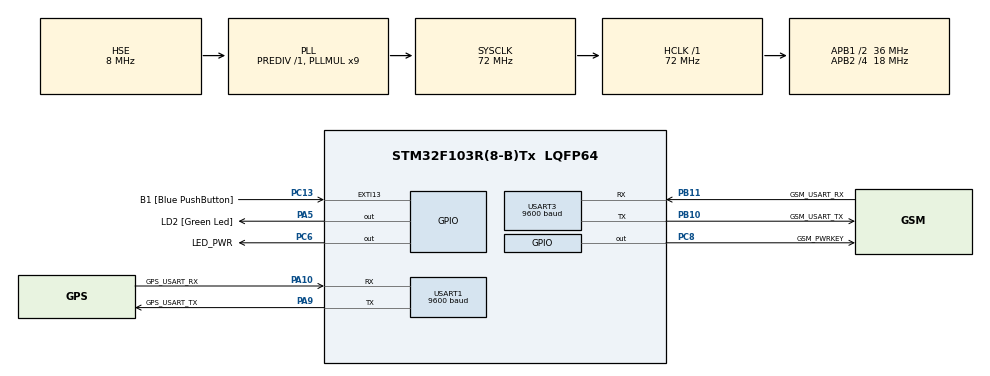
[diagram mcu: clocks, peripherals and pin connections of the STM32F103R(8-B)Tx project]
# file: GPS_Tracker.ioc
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Mcu.Family=STM32F1
Mcu.Name=STM32F103R(8-B)Tx
Mcu.Package=LQFP64
NVIC.PriorityGroup=NVIC_PRIORITYGROUP_4
PA10.GPIO_Label=GPS_USART_RX
PA10.Mode=Asynchronous
PA10.Signal=USART1_RX
PA13.GPIO_Label=TMS
PA13.Mode=Serial_Wire
PA13.Signal=SYS_JTMS-SWDIO
PA14.GPIO_Label=TCK
PA14.Mode=Serial_Wire
PA14.Signal=SYS_JTCK-SWCLK
PA2.GPIO_Label=USART_TX
PA2.GPIO_Mode=GPIO_MODE_AF_PP
PA2.GPIO_PuPd=GPIO_NOPULL
PA2.GPIO_Speed=GPIO_SPEED_FREQ_LOW
PA2.Signal=USART2_TX
PA3.GPIO_Label=USART_RX
PA3.GPIO_Mode=GPIO_MODE_AF_PP
PA3.GPIO_PuPd=GPIO_NOPULL
PA3.GPIO_Speed=GPIO_SPEED_FREQ_LOW
PA3.Signal=USART2_RX
PA5.GPIO_Label=LD2 [Green Led]
PA5.GPIO_ModeDefaultOutputPP=GPIO_MODE_OUTPUT_PP
PA5.GPIO_PuPd=GPIO_NOPULL
PA5.GPIO_Speed=GPIO_SPEED_FREQ_LOW
PA5.Signal=GPIO_Output
PA9.GPIO_Label=GPS_USART_TX
PA9.Mode=Asynchronous
PA9.Signal=USART1_TX
PB10.GPIO_Label=GSM_USART_TX
PB10.Mode=Asynchronous
PB10.Signal=USART3_TX
PB11.GPIO_Label=GSM_USART_RX
PB11.Mode=Asynchronous
PB11.Signal=USART3_RX
PB3.GPIO_Label=SWO
PB3.Signal=SYS_JTDO-TRACESWO
PC13-TAMPER-RTC.GPIO_Label=B1 [Blue PushButton]
PC13-TAMPER-RTC.GPIO_ModeDefaultEXTI=GPIO_MODE_EVT_RISING
PC13-TAMPER-RTC.GPIO_PuPd=GPIO_NOPULL
PC13-TAMPER-RTC.Signal=GPXTI13
PC14-OSC32_IN.Signal=RCC_OSC32_IN
PC15-OSC32_OUT.Signal=RCC_OSC32_OUT
PC6.GPIO_Label=LED_PWR
PC6.Signal=GPIO_Output
PC8.GPIO_Label=GSM_PWRKEY
PC8.Signal=GPIO_Output
PD0-OSC_IN.Mode=HSE-External-Oscillator
PD0-OSC_IN.Signal=RCC_OSC_IN
PD1-OSC_OUT.Mode=HSE-External-Oscillator
PD1-OSC_OUT.Signal=RCC_OSC_OUT
ProjectManager.HeapSize=0x200
ProjectManager.StackSize=0x400
ProjectManager.TargetToolchain=TrueSTUDIO
RCC.AHBFreq_Value=72000000
RCC.APB1CLKDivider=RCC_HCLK_DIV2
RCC.APB1Freq_Value=36000000
RCC.APB1TimFreq_Value=72000000
RCC.APB2CLKDivider=RCC_HCLK_DIV4
RCC.APB2Freq_Value=18000000
RCC.APB2TimFreq_Value=36000000
RCC.HCLKFreq_Value=72000000
RCC.HSIState=RCC_HSI_ON
RCC.PLLMUL=RCC_PLL_MUL9
RCC.PLLSourceVirtual=RCC_PLLSOURCE_HSE
RCC.SYSCLKFreq_VALUE=72000000
RCC.SYSCLKSource=RCC_SYSCLKSOURCE_PLLCLK
RCC.USBFreq_Value=72000000
USART1.BaudRate=9600
USART3.BaudRate=9600
board=NUCLEO-F103RB

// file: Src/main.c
/**
  ******************************************************************************
  * File Name          : main.c
  * Description        : Main program body
  ******************************************************************************
  *
  * COPYRIGHT(c) 2002 STMicroelectronics
  *
  * Redistribution and use in source and binary forms, with or without modification,
  * are permitted provided that the following conditions are met:
  *   1. Redistributions of source code must retain the above copyright notice,
  *      this list of conditions and the following disclaimer.
  *   2. Redistributions in binary form must reproduce the above copyright notice,
  *      this list of conditions and the following disclaimer in the documentation
  *      and/or other materials provided with the distribution.
  *   3. Neither the name of STMicroelectronics nor the names of its contributors
  *      may be used to endorse or promote products derived from this software
  *      without specific prior written permission.
  *
  * THIS SOFTWARE IS PROVIDED BY THE COPYRIGHT HOLDERS AND CONTRIBUTORS "AS IS"
  * AND ANY EXPRESS OR IMPLIED WARRANTIES, INCLUDING, BUT NOT LIMITED TO, THE
  * IMPLIED WARRANTIES OF MERCHANTABILITY AND FITNESS FOR A PARTICULAR PURPOSE ARE
  * DISCLAIMED. IN NO EVENT SHALL THE COPYRIGHT HOLDER OR CONTRIBUTORS BE LIABLE
  * FOR ANY DIRECT, INDIRECT, INCIDENTAL, SPECIAL, EXEMPLARY, OR CONSEQUENTIAL
  * DAMAGES (INCLUDING, BUT NOT LIMITED TO, PROCUREMENT OF SUBSTITUTE GOODS OR
  * SERVICES; LOSS OF USE, DATA, OR PROFITS; OR BUSINESS INTERRUPTION) HOWEVER
  * CAUSED AND ON ANY THEORY OF LIABILITY, WHETHER IN CONTRACT, STRICT LIABILITY,
  * OR TORT (INCLUDING NEGLIGENCE OR OTHERWISE) ARISING IN ANY WAY OUT OF THE USE
  * OF THIS SOFTWARE, EVEN IF ADVISED OF THE POSSIBILITY OF SUCH DAMAGE.
  *
  ******************************************************************************
  */
#include "stm32f1xx_hal.h"

/* USER CODE BEGIN Includes */
#include <string.h>
/* USER CODE END Includes */

UART_HandleTypeDef huart1;
UART_HandleTypeDef huart3;

/* USER CODE BEGIN PV */
/* Private variables ---------------------------------------------------------*/

/* USER CODE END PV */

void SystemClock_Config(void);
void Error_Handler(void);
static void MX_GPIO_Init(void);
static void MX_USART1_UART_Init(void);
static void MX_USART3_UART_Init(void);

/* USER CODE BEGIN PFP */
/* Private function prototypes -----------------------------------------------*/

/* USER CODE END PFP */

/* USER CODE BEGIN 0 */
char ch;
uint8_t char_counter = 0;
uint8_t char_counter_tmp = 0;
char x_text [50];
uint8_t flag_x = 0;
char st1[] = "AT+HTTPPARA=URL,http://www.YOUR_DOMAIN_HERE/get_location.php?raw_var=";
char st2[] = "\r\n";

void S_delay_ms(uint32_t ms){
	long rr = ms*300;
	while (rr != 0){
		rr--;
	}
}

void GPS_USART_RX_ISR(){
	if(__HAL_UART_GET_FLAG(&huart1, UART_FLAG_RXNE) != RESET){
		ch = (uint8_t)((&huart1)->Instance->DR & (uint8_t)0x00FF);
		maincall_x();
	}
}
void scan_for_dots(){
	uint8_t i = 0;
	while (i!=26){
		if (x_text [i] == ','){
			x_text [i] = 'y';
		}
		i++;
	}
}

uint8_t comm_1[] = "AT+SAPBR=3,1,Contype,GPRS\r\n";
uint8_t comm_2[] = "AT+SAPBR=3,1,APN,YOUR_APN_HERE\r\n";
uint8_t comm_3[] = "AT+SAPBR=1,1\r\n";
uint8_t comm_4[] = "AT+HTTPINIT\r\n";
uint8_t comm_5[] = "AT+HTTPPARA=CID,1\r\n";
void init_devs(){
	//GSM Power On
	S_delay_ms(400000);
	HAL_GPIO_WritePin(GPIOC, GSM_PWRKEY_Pin, GPIO_PIN_SET);
	HAL_GPIO_WritePin(GPIOC, GSM_PWRKEY_Pin, GPIO_PIN_RESET);
	S_delay_ms(400000);
	HAL_GPIO_WritePin(GPIOC, GSM_PWRKEY_Pin, GPIO_PIN_SET);
	//GSM Modem On
	S_delay_ms(800000);
	HAL_UART_Transmit(&huart3, comm_1, 27, 9000000);
	S_delay_ms(100000);
	HAL_UART_Transmit(&huart3, comm_2, 24, 9000000);
	S_delay_ms(100000);
	HAL_UART_Transmit(&huart3, comm_3, 14, 9000000);
	S_delay_ms(100000);
	HAL_UART_Transmit(&huart3, comm_4, 13, 9000000);
	S_delay_ms(100000);
	HAL_UART_Transmit(&huart3, comm_5, 19, 9000000);
	S_delay_ms(100000);
	HAL_GPIO_WritePin(GPIOC, LED_PWR_Pin, GPIO_PIN_SET);
}

uint8_t comm_6[] = "AT+HTTPACTION=0\r\n";
void maincall_x(){
	if (ch == '$'){
		char_counter = 1;
	}
	if (char_counter == 4){
		if (ch == 'G'){
			flag_x++;
		}
	}
	if (char_counter == 5){
		if (ch == 'L'){
			flag_x++;
		}
	}
	if (char_counter == 6){
		if (ch == 'L'){
			flag_x++;
		}
	}
	if (ch == '*'){
		if (flag_x == 3){
			x_text[10] = 'x';
			x_text[12] = 'x';
			x_text[24] = 'x';
			scan_for_dots();
			HAL_UART_Transmit(&huart3, st1, strlen(str1), 9000000);
			HAL_UART_Transmit(&huart3, x_text, char_counter_tmp+1, 9000000);
			HAL_UART_Transmit(&huart3, st2, 2, 9000000);
			S_delay_ms(5000);
			HAL_UART_Transmit(&huart3, comm_6, 17, 9000000);
			S_delay_ms(50000);
		}
		flag_x = 0;
		char_counter = 0;
	}
	if (0 < char_counter){
		if (char_counter < 34){
			if (flag_x == 3){
				char_counter_tmp = char_counter-8;
				x_text [char_counter_tmp] = ch;
				char_counter++;
			}
			else {
				char_counter++;
			}
		}
	}
}

/* USER CODE END 0 */

int main(void)
{

  /* MCU Configuration----------------------------------------------------------*/

  /* Reset of all peripherals, Initializes the Flash interface and the Systick. */
  HAL_Init();

  /* Configure the system clock */
  SystemClock_Config();

  /* Initialize all configured peripherals */
  MX_GPIO_Init();
  MX_USART1_UART_Init();
  MX_USART3_UART_Init();

  /* USER CODE BEGIN 2 */

  init_devs();
  /* USER CODE END 2 */

  /* Infinite loop */
  /* USER CODE BEGIN WHILE */
  while (1)
  {
	  GPS_USART_RX_ISR();
  /* USER CODE END WHILE */

  }

}

/** System Clock Configuration
*/
void SystemClock_Config(void)
{

  RCC_OscInitTypeDef RCC_OscInitStruct;
  RCC_ClkInitTypeDef RCC_ClkInitStruct;

  RCC_OscInitStruct.OscillatorType = RCC_OSCILLATORTYPE_HSE;
  RCC_OscInitStruct.HSEState = RCC_HSE_ON;
  RCC_OscInitStruct.HSEPredivValue = RCC_HSE_PREDIV_DIV1;
  RCC_OscInitStruct.PLL.PLLState = RCC_PLL_ON;
  RCC_OscInitStruct.PLL.PLLSource = RCC_PLLSOURCE_HSE;
  RCC_OscInitStruct.PLL.PLLMUL = RCC_PLL_MUL9;
  if (HAL_RCC_OscConfig(&RCC_OscInitStruct) != HAL_OK)
  {
    Error_Handler();
  }

  RCC_ClkInitStruct.ClockType = RCC_CLOCKTYPE_HCLK|RCC_CLOCKTYPE_SYSCLK
                              |RCC_CLOCKTYPE_PCLK1|RCC_CLOCKTYPE_PCLK2;
  RCC_ClkInitStruct.SYSCLKSource = RCC_SYSCLKSOURCE_PLLCLK;
  RCC_ClkInitStruct.AHBCLKDivider = RCC_SYSCLK_DIV1;
  RCC_ClkInitStruct.APB1CLKDivider = RCC_HCLK_DIV2;
  RCC_ClkInitStruct.APB2CLKDivider = RCC_HCLK_DIV4;
  if (HAL_RCC_ClockConfig(&RCC_ClkInitStruct, FLASH_LATENCY_2) != HAL_OK)
  {
    Error_Handler();
  }

  HAL_SYSTICK_Config(HAL_RCC_GetHCLKFreq()/1000);

  HAL_SYSTICK_CLKSourceConfig(SYSTICK_CLKSOURCE_HCLK);

  /* SysTick_IRQn interrupt configuration */
  HAL_NVIC_SetPriority(SysTick_IRQn, 0, 0);
}

/* USART1 init function */
static void MX_USART1_UART_Init(void)
{

  huart1.Instance = USART1;
  huart1.Init.BaudRate = 9600;
  huart1.Init.WordLength = UART_WORDLENGTH_8B;
  huart1.Init.StopBits = UART_STOPBITS_1;
  huart1.Init.Parity = UART_PARITY_NONE;
  huart1.Init.Mode = UART_MODE_TX_RX;
  huart1.Init.HwFlowCtl = UART_HWCONTROL_NONE;
  huart1.Init.OverSampling = UART_OVERSAMPLING_16;
  if (HAL_UART_Init(&huart1) != HAL_OK)
  {
    Error_Handler();
  }

}

/* USART3 init function */
static void MX_USART3_UART_Init(void)
{

  huart3.Instance = USART3;
  huart3.Init.BaudRate = 9600;
  huart3.Init.WordLength = UART_WORDLENGTH_8B;
  huart3.Init.StopBits = UART_STOPBITS_1;
  huart3.Init.Parity = UART_PARITY_NONE;
  huart3.Init.Mode = UART_MODE_TX_RX;
  huart3.Init.HwFlowCtl = UART_HWCONTROL_NONE;
  huart3.Init.OverSampling = UART_OVERSAMPLING_16;
  if (HAL_UART_Init(&huart3) != HAL_OK)
  {
    Error_Handler();
  }

}

/** Configure pins as
        * Analog
        * Input
        * Output
        * EVENT_OUT
        * EXTI
     PA2   ------> USART2_TX
     PA3   ------> USART2_RX
*/
static void MX_GPIO_Init(void)
{

  GPIO_InitTypeDef GPIO_InitStruct;

  /* GPIO Ports Clock Enable */
  __HAL_RCC_GPIOC_CLK_ENABLE();
  __HAL_RCC_GPIOD_CLK_ENABLE();
  __HAL_RCC_GPIOA_CLK_ENABLE();
  __HAL_RCC_GPIOB_CLK_ENABLE();

  /*Configure GPIO pin : B1_Pin */
  GPIO_InitStruct.Pin = B1_Pin;
  GPIO_InitStruct.Mode = GPIO_MODE_EVT_RISING;
  GPIO_InitStruct.Pull = GPIO_NOPULL;
  HAL_GPIO_Init(B1_GPIO_Port, &GPIO_InitStruct);

  /*Configure GPIO pins : USART_TX_Pin USART_RX_Pin */
  GPIO_InitStruct.Pin = USART_TX_Pin|USART_RX_Pin;
  GPIO_InitStruct.Mode = GPIO_MODE_AF_PP;
  GPIO_InitStruct.Speed = GPIO_SPEED_FREQ_LOW;
  HAL_GPIO_Init(GPIOA, &GPIO_InitStruct);

  /*Configure GPIO pin : LD2_Pin */
  GPIO_InitStruct.Pin = LD2_Pin;
  GPIO_InitStruct.Mode = GPIO_MODE_OUTPUT_PP;
  GPIO_InitStruct.Speed = GPIO_SPEED_FREQ_LOW;
  HAL_GPIO_Init(LD2_GPIO_Port, &GPIO_InitStruct);

  /*Configure GPIO pins : LED_PWR_Pin GSM_PWRKEY_Pin */
  GPIO_InitStruct.Pin = LED_PWR_Pin|GSM_PWRKEY_Pin;
  GPIO_InitStruct.Mode = GPIO_MODE_OUTPUT_OD;
  GPIO_InitStruct.Speed = GPIO_SPEED_FREQ_LOW;
  HAL_GPIO_Init(GPIOC, &GPIO_InitStruct);

  /*Configure GPIO pin Output Level */
  HAL_GPIO_WritePin(LD2_GPIO_Port, LD2_Pin, GPIO_PIN_RESET);

  /*Configure GPIO pin Output Level */
  HAL_GPIO_WritePin(GPIOC, LED_PWR_Pin|GSM_PWRKEY_Pin, GPIO_PIN_RESET);

}

void Error_Handler(void)
{
  while(1)
  {
  }
}

/************************ (C) COPYRIGHT STMicroelectronics *****END OF FILE****/
